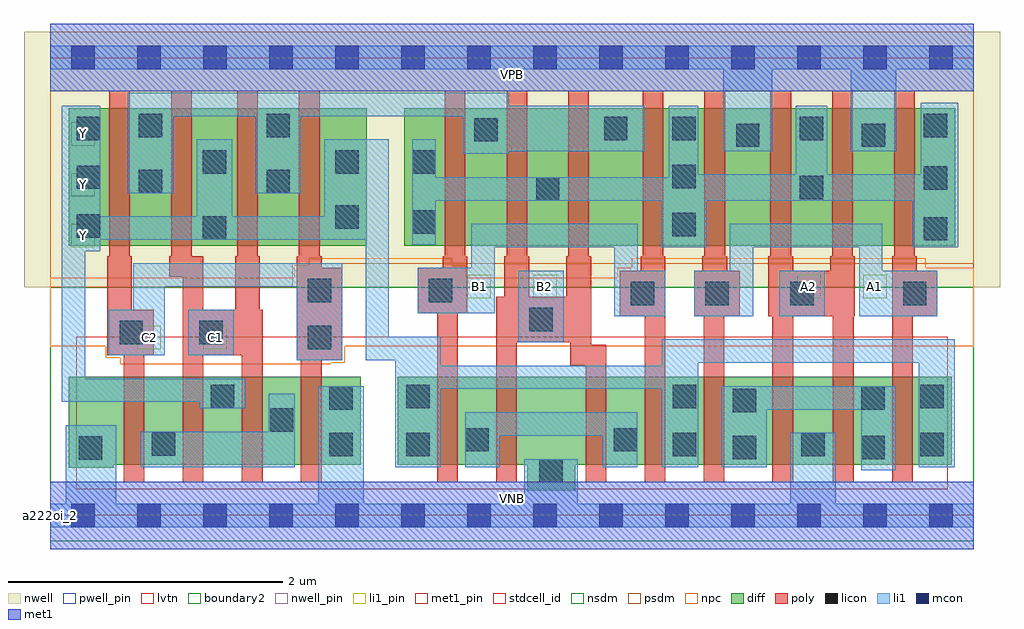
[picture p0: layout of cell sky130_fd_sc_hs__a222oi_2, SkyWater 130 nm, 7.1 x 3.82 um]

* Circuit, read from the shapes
.subckt sky130_fd_sc_hs__a222oi_2 A1 A2 B1 B2 C1 C2 VGND VNB VPB VPWR Y
XM1 n1 C2 VGND VNB sky130_fd_pr__nfet_01v8_lvt w=0.64 l=0.15 m=2
XM2 Y C1 n1 VNB sky130_fd_pr__nfet_01v8_lvt w=0.64 l=0.15 m=2
XM3 n2 B1 Y VNB sky130_fd_pr__nfet_01v8_lvt w=0.64 l=0.15 m=2
XM4 VGND B2 n2 VNB sky130_fd_pr__nfet_01v8_lvt w=0.64 l=0.15 m=2
XM5 n3 A1 Y VNB sky130_fd_pr__nfet_01v8_lvt w=0.64 l=0.15 m=2
XM6 VGND A2 n3 VNB sky130_fd_pr__nfet_01v8_lvt w=0.64 l=0.15 m=2
XM7 n4 C2 Y VPB sky130_fd_pr__pfet_01v8 w=1 l=0.15 m=2
XM8 Y C1 n4 VPB sky130_fd_pr__pfet_01v8 w=1 l=0.15 m=2
XM9 n4 B1 n5 VPB sky130_fd_pr__pfet_01v8 w=1 l=0.15 m=2
XM10 n5 B2 n4 VPB sky130_fd_pr__pfet_01v8 w=1 l=0.15 m=2
XM11 VPWR A1 n5 VPB sky130_fd_pr__pfet_01v8 w=1 l=0.15 m=2
XM12 n5 A2 VPWR VPB sky130_fd_pr__pfet_01v8 w=1 l=0.15 m=2
.ends

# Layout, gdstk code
import gdstk
lib = gdstk.Library(unit=1e-6, precision=1e-09)
def R(c, l, rs):  # rectangles x0, y0, x1, y1
    for r in rs: c.add(gdstk.rectangle(r[:2], r[2:], *l))
def A(c, l, x, y, w, h, nx, ny, dx, dy):  # array of equal rectangles
    R(c, l, [(x+i*dx, y+j*dy, x+i*dx+w, y+j*dy+h) for i in range(nx) for j in range(ny)])
def P(c, l, *ps):  # polygons
    for p in ps: c.add(gdstk.Polygon(p, *l))
nwell_pin = (64, 16)
nwell = (64, 20)
diff = (65, 20)
poly = (66, 20)
licon = (66, 44)
li1_pin = (67, 16)
li1 = (67, 20)
mcon = (67, 44)
met1_pin = (68, 16)
met1 = (68, 20)
stdcell_id = (81, 4)
nsdm = (93, 44)
psdm = (94, 20)
npc = (95, 20)
pwell_pin = (122, 16)
lvtn = (125, 44)
boundary2 = (236, 0)

sky130_fd_sc_hs__a222oi_ = lib.new_cell('sky130_fd_sc_hs__a222oi_2')
R(sky130_fd_sc_hs__a222oi_, nwell_pin, [(0,3.085,6.72,3.33)])
R(sky130_fd_sc_hs__a222oi_, nwell, [(-0.19,1.66,6.91,3.52)])
R(sky130_fd_sc_hs__a222oi_, diff, [(0.135,1.96,2.305,2.96), (2.575,1.96,6.585,2.96)])
P(sky130_fd_sc_hs__a222oi_, diff, [(2.26,1.01),(0.135,1.01),(0.135,0.345),(0.46,0.345),(0.46,0.37),(2.26,0.37)],
  [(6.56,1.01),(2.53,1.01),(2.53,0.37),(3.47,0.37),(3.47,0.18),(3.82,0.18),(3.82,0.37),(6.56,0.37)])
P(sky130_fd_sc_hs__a222oi_, poly, [(6.455,1.78),(6.305,1.78),(6.305,1.885),(6.29,1.885),(6.29,3.09),(6.14,3.09),(6.14,1.885),(6.125,1.885),(6.125,0.24),(6.275,0.24),(6.275,1.45),(6.455,1.45)],
  [(5.855,1.885),(5.84,1.885),(5.84,3.09),(5.69,3.09),(5.69,1.885),(5.675,1.885),(5.675,1.78),(5.405,1.78),(5.405,1.885),(5.39,1.885),(5.39,3.09),(5.24,3.09),(5.24,1.885),(5.225,1.885),(5.225,1.45),(5.255,1.45),(5.255,0.24),(5.405,0.24),(5.405,1.45),(5.695,1.45),(5.695,0.24),(5.845,0.24),(5.845,1.45),(5.855,1.45)],
  [(5.015,1.78),(4.925,1.78),(4.925,1.885),(4.91,1.885),(4.91,3.09),(4.76,3.09),(4.76,1.885),(4.745,1.885),(4.745,1.78),(4.685,1.78),(4.685,1.45),(4.755,1.45),(4.755,0.24),(4.905,0.24),(4.905,1.45),(5.015,1.45)],
  [(4.475,1.885),(4.46,1.885),(4.46,3.09),(4.31,3.09),(4.31,1.885),(4.295,1.885),(4.295,1.78),(4.145,1.78),(4.145,1.45),(4.325,1.45),(4.325,0.24),(4.475,0.24)],
  [(4.045,1.24),(3.935,1.24),(3.935,1.885),(3.92,1.885),(3.92,3.09),(3.77,3.09),(3.77,1.885),(3.755,1.885),(3.755,1.59),(3.485,1.59),(3.485,1.885),(3.47,1.885),(3.47,3.09),(3.32,3.09),(3.32,1.885),(3.305,1.885),(3.305,1.59),(3.245,1.59),(3.245,0.24),(3.395,0.24),(3.395,1.26),(3.785,1.26),(3.785,1.09),(3.895,1.09),(3.895,0.24),(4.045,0.24)],
  [(3.035,1.885),(3.02,1.885),(3.02,3.09),(2.87,3.09),(2.87,1.885),(2.855,1.885),(2.855,1.8),(2.675,1.8),(2.675,1.47),(2.815,1.47),(2.815,0.24),(2.965,0.24),(2.965,1.47),(3.035,1.47)],
  [(2.125,1.8),(1.975,1.8),(1.975,1.885),(1.96,1.885),(1.96,3.09),(1.81,3.09),(1.81,1.885),(1.795,1.885),(1.795,1.13),(1.825,1.13),(1.825,0.24),(1.975,0.24),(1.975,1.13),(2.125,1.13)],
  [(1.545,1.495),(1.525,1.495),(1.525,1.885),(1.51,1.885),(1.51,3.09),(1.36,3.09),(1.36,1.885),(1.345,1.885),(1.345,1.495),(1.115,1.495),(1.115,1.885),(1.03,1.885),(1.03,3.09),(0.88,3.09),(0.88,1.885),(0.865,1.885),(0.865,1.735),(0.965,1.735),(0.965,0.24),(1.115,0.24),(1.115,1.165),(1.395,1.165),(1.395,0.24),(1.545,0.24)],
  [(0.755,1.495),(0.595,1.495),(0.595,1.885),(0.58,1.885),(0.58,3.09),(0.43,3.09),(0.43,1.885),(0.415,1.885),(0.415,1.165),(0.535,1.165),(0.535,0.24),(0.685,0.24),(0.685,1.165),(0.755,1.165)])
A(sky130_fd_sc_hs__a222oi_, licon, 0.195, 2.02, 0.17, 0.17, 1, 3, 0, 0.355)
A(sky130_fd_sc_hs__a222oi_, licon, 4.525, 2.03, 0.17, 0.17, 1, 3, 0, 0.35)
R(sky130_fd_sc_hs__a222oi_, licon, [(3.56,0.24,3.73,0.41), (0.21,0.405,0.38,0.575), (4.965,0.41,5.135,0.58), (5.9,0.41,6.07,0.58), (2.03,0.43,2.2,0.6), (2.59,0.43,2.76,0.6), (4.53,0.43,4.7,0.6), (5.465,0.43,5.635,0.6), (6.33,0.43,6.5,0.6), (0.74,0.435,0.91,0.605), (3.02,0.465,3.19,0.635), (4.1,0.465,4.27,0.635), (1.6,0.61,1.77,0.78), (4.965,0.75,5.135,0.92), (2.03,0.77,2.2,0.94), (5.9,0.77,6.07,0.94), (1.17,0.78,1.34,0.95), (2.59,0.78,2.76,0.95), (4.53,0.78,4.7,0.95), (6.33,0.78,6.5,0.95), (1.875,1.21,2.045,1.38), (0.505,1.245,0.675,1.415), (1.085,1.245,1.255,1.415), (3.485,1.34,3.655,1.51), (4.225,1.53,4.395,1.7), (4.765,1.53,4.935,1.7), (5.385,1.53,5.555,1.7), (6.205,1.53,6.375,1.7), (1.875,1.55,2.045,1.72), (2.755,1.55,2.925,1.72), (6.355,2,6.525,2.17), (1.11,2.005,1.28,2.175), (2.635,2.05,2.805,2.22), (2.075,2.085,2.245,2.255), (3.535,2.29,3.705,2.46), (5.455,2.3,5.625,2.47), (0.645,2.345,0.815,2.515), (1.575,2.345,1.745,2.515), (6.355,2.37,6.525,2.54), (1.11,2.485,1.28,2.655), (2.075,2.485,2.245,2.655), (2.635,2.485,2.805,2.655), (4.99,2.68,5.16,2.85), (5.905,2.68,6.075,2.85), (3.085,2.72,3.255,2.89), (4.03,2.73,4.2,2.9), (5.455,2.73,5.625,2.9), (0.645,2.75,0.815,2.92), (1.575,2.75,1.745,2.92), (6.355,2.75,6.525,2.92)])
A(sky130_fd_sc_hs__a222oi_, li1_pin, 0.155, 1.95, 0.17, 0.17, 1, 3, 0, 0.37)
R(sky130_fd_sc_hs__a222oi_, li1_pin, [(0.635,1.21,0.805,1.38), (1.115,1.21,1.285,1.38), (3.035,1.58,3.205,1.75), (3.515,1.58,3.685,1.75), (5.435,1.58,5.605,1.75), (5.915,1.58,6.085,1.75)])
R(sky130_fd_sc_hs__a222oi_, li1, [(1.005,1.165,1.335,1.495), (3.405,1.26,3.735,1.78), (5.305,1.45,5.635,1.78)])
P(sky130_fd_sc_hs__a222oi_, li1, [(5.825,2.65),(5.825,3.245),(5.255,3.245),(5.255,2.65),(4.895,2.65),(4.895,3.245),(0,3.245),(0,3.415),(6.72,3.415),(6.72,3.245),(6.155,3.245),(6.155,2.65)],
  [(5.385,0.085),(5.385,0.6),(5.715,0.6),(5.715,0.085),(6.72,0.085),(6.72,-0.085),(0,-0.085),(0,0.085),(0.115,0.085),(0.115,0.655),(0.48,0.655),(0.48,0.085),(1.95,0.085),(1.95,0.94),(2.28,0.94),(2.28,0.085),(3.45,0.085),(3.45,0.41),(3.84,0.41),(3.84,0.085)],
  [(6.055,1.78),(6.455,1.78),(6.455,1.45),(5.885,1.45),(5.885,1.95),(5.115,1.95),(5.115,1.45),(4.685,1.45),(4.685,1.78),(4.945,1.78),(4.945,2.12),(6.055,2.12)],
  [(6.58,1.28),(4.45,1.28),(4.45,1.09),(2.84,1.09),(2.84,1.3),(2.465,1.3),(2.465,2.735),(1.995,2.735),(1.995,2.175),(1.325,2.175),(1.325,2.735),(1.065,2.735),(1.065,2.175),(0.365,2.175),(0.365,2.98),(0.085,2.98),(0.085,0.825),(1.09,0.825),(1.09,0.78),(1.42,0.78),(1.42,0.995),(0.255,0.995),(0.255,1.92),(0.365,1.92),(0.365,2.005),(2.295,2.005),(2.295,1.13),(2.51,1.13),(2.51,0.35),(2.84,0.35),(2.84,0.92),(4.45,0.92),(4.45,0.35),(4.715,0.35),(4.715,1.11),(6.32,1.11),(6.32,0.35),(6.58,0.35)],
  [(2.125,1.835),(2.125,1.13),(1.795,1.13),(1.795,1.665),(0.835,1.665),(0.835,1.165),(0.425,1.165),(0.425,1.495),(0.605,1.495),(0.605,1.835)],
  [(2.675,1.47),(2.675,1.8),(3.065,1.8),(3.065,2.12),(4.275,2.12),(4.275,1.78),(4.475,1.78),(4.475,1.45),(4.105,1.45),(4.105,1.95),(3.235,1.95),(3.235,1.47)],
  [(6.605,3),(6.335,3),(6.335,2.48),(5.655,2.48),(5.655,2.98),(5.425,2.98),(5.425,2.48),(4.715,2.48),(4.715,2.98),(4.5,2.98),(4.5,2.46),(2.805,2.46),(2.805,2.735),(2.635,2.735),(2.635,1.97),(2.805,1.97),(2.805,2.29),(4.445,2.29),(4.445,1.95),(4.775,1.95),(4.775,2.29),(6.275,2.29),(6.275,1.95),(6.605,1.95)],
  [(4.325,2.98),(3.335,2.98),(3.335,3.075),(0.565,3.075),(0.565,2.345),(0.895,2.345),(0.895,2.905),(1.495,2.905),(1.495,2.345),(1.825,2.345),(1.825,2.905),(3.005,2.905),(3.005,2.63),(3.335,2.63),(3.335,2.65),(4.325,2.65)],
  [(1.78,0.885),(1.59,0.885),(1.59,0.61),(0.66,0.61),(0.66,0.35),(1.78,0.35)],
  [(4.885,0.35),(4.885,0.94),(6.15,0.94),(6.15,0.33),(5.9,0.33),(5.9,0.77),(5.215,0.77),(5.215,0.35)],
  [(4.02,0.35),(4.02,0.58),(3.27,0.58),(3.27,0.35),(3.02,0.35),(3.02,0.75),(4.27,0.75),(4.27,0.35)])
A(sky130_fd_sc_hs__a222oi_, mcon, 0.155, -0.085, 0.17, 0.17, 14, 2, 0.48, 3.33)
R(sky130_fd_sc_hs__a222oi_, met1_pin, [(0,0,6.72,0.245), (0,3.085,6.72,3.33)])
R(sky130_fd_sc_hs__a222oi_, met1, [(0,-0.245,6.72,0.245), (0,3.085,6.72,3.575)])
R(sky130_fd_sc_hs__a222oi_, stdcell_id, [(0,0,6.72,3.33)])
R(sky130_fd_sc_hs__a222oi_, nsdm, [(0,-0.19,6.72,1.66)])
P(sky130_fd_sc_hs__a222oi_, psdm, [(6.72,3.52),(0,3.52),(0,1.66),(1.765,1.66),(1.765,1.83),(6.72,1.83)])
P(sky130_fd_sc_hs__a222oi_, npc, [(6.72,1.8),(6.37,1.8),(6.37,1.87),(4.23,1.87),(4.23,1.8),(4.125,1.8),(4.125,1.73),(3.025,1.73),(3.025,1.82),(2.92,1.82),(2.92,1.87),(1.88,1.87),(1.88,1.82),(1.775,1.82),(1.775,1.73),(0,1.73),(0,1.23),(0.405,1.23),(0.405,1.145),(0.51,1.145),(0.51,1.1),(2.04,1.1),(2.04,1.11),(2.145,1.11),(2.145,1.23),(6.72,1.23)])
R(sky130_fd_sc_hs__a222oi_, pwell_pin, [(0,0,6.72,0.245)])
R(sky130_fd_sc_hs__a222oi_, lvtn, [(0.19,0.19,6.53,1.3)])
R(sky130_fd_sc_hs__a222oi_, boundary2, [(0,0,6.72,3.33)])
sky130_fd_sc_hs__a222oi_.add(gdstk.Label('a222oi_2', (0,0), layer=83, texttype=44))
sky130_fd_sc_hs__a222oi_.add(gdstk.Label('VNB', (3.36,0.123), layer=64, texttype=59))
sky130_fd_sc_hs__a222oi_.add(gdstk.Label('VPB', (3.36,3.208), layer=64, texttype=5))
sky130_fd_sc_hs__a222oi_.add(gdstk.Label('VPWR', (3.36,3.208), layer=68, texttype=5))
sky130_fd_sc_hs__a222oi_.add(gdstk.Label('VGND', (3.36,0.123), layer=68, texttype=5))
sky130_fd_sc_hs__a222oi_.add(gdstk.Label('C1', (1.2,1.295), layer=67, texttype=5))
sky130_fd_sc_hs__a222oi_.add(gdstk.Label('B2', (3.6,1.665), layer=67, texttype=5))
sky130_fd_sc_hs__a222oi_.add(gdstk.Label('A2', (5.52,1.665), layer=67, texttype=5))
sky130_fd_sc_hs__a222oi_.add(gdstk.Label('A1', (6,1.665), layer=67, texttype=5))
sky130_fd_sc_hs__a222oi_.add(gdstk.Label('Y', (0.24,2.035), layer=67, texttype=5))
sky130_fd_sc_hs__a222oi_.add(gdstk.Label('Y', (0.24,2.405), layer=67, texttype=5))
sky130_fd_sc_hs__a222oi_.add(gdstk.Label('Y', (0.24,2.775), layer=67, texttype=5))
sky130_fd_sc_hs__a222oi_.add(gdstk.Label('C2', (0.72,1.295), layer=67, texttype=5))
sky130_fd_sc_hs__a222oi_.add(gdstk.Label('B1', (3.12,1.665), layer=67, texttype=5))

lib.write_gds('sky130_fd_sc_hs__a222oi_2.gds')
